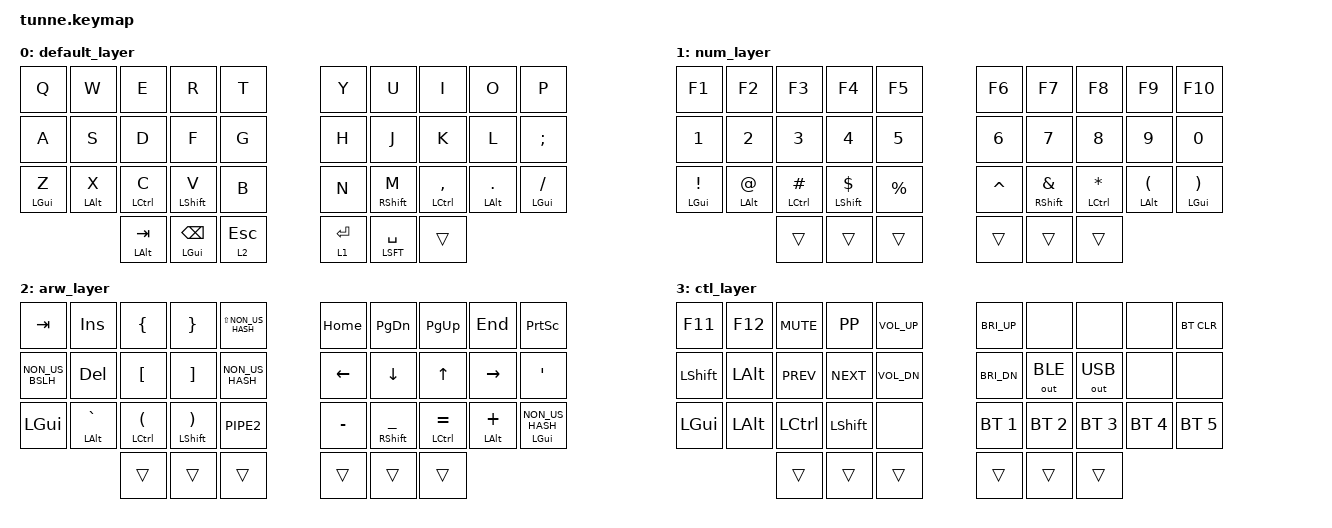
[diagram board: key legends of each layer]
#include <behaviors.dtsi>
#include <dt-bindings/zmk/keys.h>
#include <dt-bindings/zmk/bt.h>
#include <dt-bindings/zmk/outputs.h>
#include "../zmk-nodefree-config/helper.h"


/* use helper macros to define left and right hand keys */
#include "../../../../zmk-nodefree-config/keypos_def/keypos_36keys.h"       // keyposition helpers
#define KEYS_L LT0 LT1 LT2 LT3 LT4 LM0 LM1 LM2 LM3 LM4 LB0 LB1 LB2 LB3 LB4  // left-hand keys
#define KEYS_R RT0 RT1 RT2 RT3 RT4 RM0 RM1 RM2 RM3 RM4 RB0 RB1 RB2 RB3 RB4  // right-hand keys
#define THUMBS LH2 LH1 LH0 RH0 RH1 RH2                                      // thumb keys

/* left-hand HRMs */
ZMK_BEHAVIOR(hml, hold_tap,
    flavor = "balanced";
    tapping-term-ms = <280>;
    quick-tap-ms = <175>;                // repeat on tap-into-hold
    global-quick-tap-ms = <150>;         // requires PR #1387
    bindings = <&kp>, <&kp>;
    hold-trigger-key-positions = <KEYS_R THUMBS>;
    hold-trigger-on-release;             // delay positional check until key-release
)

/* right-hand HRMs */
ZMK_BEHAVIOR(hmr, hold_tap,
    flavor = "balanced";
    tapping-term-ms = <280>;
    quick-tap-ms = <175>;                // repeat on tap-into-hold
    global-quick-tap-ms = <150>;         // requires PR #1387
    bindings = <&kp>, <&kp>;
    hold-trigger-key-positions = <KEYS_L THUMBS>;
    hold-trigger-on-release;             // delay positional check until key-release
)

&mt {
  quick-tap-ms = <200>;
};

/ {
  conditional_layers {
    compatible = "zmk,conditional-layers";
    tri_layer {
      if-layers = <1 2>;
      then-layer = <3>;
    };
  };
  keymap {
    compatible = "zmk,keymap";
    default_layer {
      bindings = <
        &kp Q       &kp W       &kp E        &kp R         &kp T     &kp Y       &kp U          &kp I            &kp O         &kp P
        &kp A       &kp S       &kp D        &kp F         &kp G     &kp H       &kp J          &kp K            &kp L         &kp SEMI
        &hml LGUI Z &hml LALT X &hml LCTRL C &hml LSHFT V  &kp B     &kp N       &hmr RSHFT M   &hmr LCTRL COMMA &hmr LALT DOT &hmr LGUI FSLH
                                &mt LALT TAB &mt LGUI BSPC &lt 2 ESC &lt 1 ENTER &mt LSFT SPACE &trans
      >;
    };

    num_layer {
      bindings = <
        &kp F1         &kp F2       &kp F3          &kp F4          &kp F5    &kp F6    &kp F7          &kp F8          &kp F9         &kp F10
        &kp N1         &kp N2       &kp N3          &kp N4          &kp N5    &kp N6    &kp N7          &kp N8          &kp N9         &kp N0
        &hml LGUI EXCL &hml LALT AT &hml LCTRL HASH &hml LSHFT DLLR &kp PRCNT &kp CARET &hmr RSHFT AMPS &hmr LCTRL STAR &hmr LALT LPAR &hmr LGUI RPAR
                                    &trans          &trans          &trans    &trans    &trans          &trans
      >;
    };

    arw_layer {
      bindings = <
        &kp TAB         &kp INS         &kp LBRC        &kp RBRC        &kp LS(NON_US_HASH) &kp HOME  &kp PG_DN        &kp PG_UP        &kp END         &kp PSCRN
        &kp NON_US_BSLH &kp DEL         &kp LBKT        &kp RBKT        &kp NON_US_HASH     &kp LEFT  &kp DOWN         &kp UP           &kp RIGHT       &kp SQT
        &kp LGUI        &hml LALT GRAVE &hml LCTRL LPAR &hml LSHFT RPAR &kp PIPE2           &kp MINUS &hmr RSHFT UNDER &hmr LCTRL EQUAL &hmr LALT PLUS  &hmr LGUI NON_US_HASH
                                        &trans          &trans          &trans              &trans    &trans           &trans
      >;
    };

    ctl_layer {
      bindings = <
        &kp F11   &kp F12  &kp K_MUTE &kp K_PP   &kp K_VOL_UP &kp C_BRI_UP &none        &none        &none        &bt BT_CLR
        &kp LSHFT &kp LALT &kp K_PREV &kp K_NEXT &kp K_VOL_DN &kp C_BRI_DN &out OUT_BLE &out OUT_USB &none        &none
        &kp LGUI  &kp LALT &kp LCTRL  &kp LSHFT  &none        &bt BT_SEL 1 &bt BT_SEL 2 &bt BT_SEL 3 &bt BT_SEL 4 &bt BT_SEL 5
                           &trans     &trans     &trans       &trans       &trans       &trans
      >;
    };
  };
};
